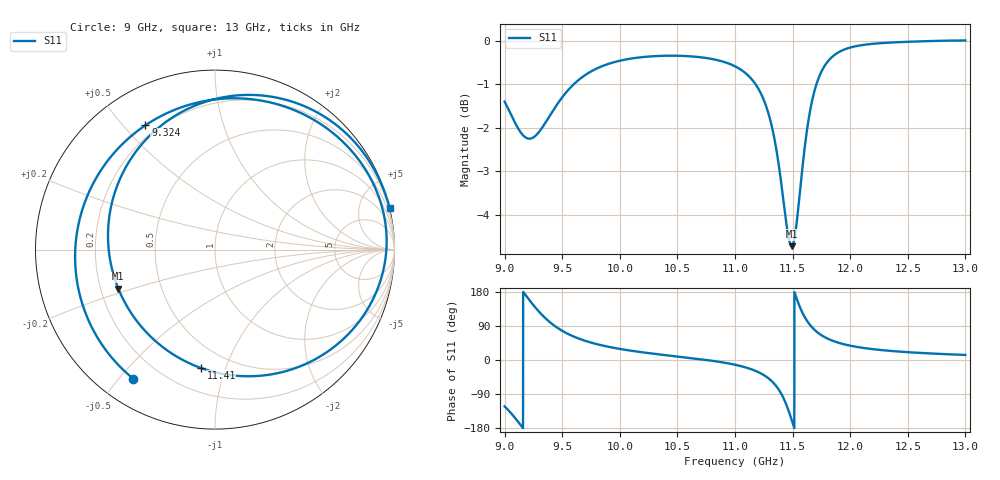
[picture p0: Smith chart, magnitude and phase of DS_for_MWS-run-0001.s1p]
! TOUCHSTONE file generated by CST DESIGN STUDIO
! Date and time: Tue Feb  4 14:18:20 2025
! Project name: C:\Work\MatlabApps\UnitCellOptimizationMatlab\CST\unitcell.cst
! Tree item: Tasks\Sweep1\SPara1\S-Parameters
! Header version: 2024
! Port assignment regex: !\s*Touchstone port\s*([0-9]+)\s*=\s*(CST MWS port|CST DES external port|CST DES block port)\s*(.+)\s* \(\"(.*)\"\)(\s*mode\s*([0-9]+))?.*
! Touchstone port assignment:
! Touchstone port 1 = CST DES external port 1 ("")
# GHz S MA R 50
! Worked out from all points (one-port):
!   4001 points, 9 GHz to 13 GHz, reference 50 ohm
!   lowest |S11| = -4.7 dB at 11.49 GHz (marker M1), VSWR 3.77, Z = 13.7 - j8.99 ohm
!   |S11| at or under -10 dB: nowhere
!   S11 on the Smith chart (normalised r, x): 9 GHz: 0.10, -0.55; 9.324 GHz: 0.15, +0.58; 11.41 GHz: 0.35, -0.82; 13 GHz: -0.01, +8.58
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9  0.8511 -122.4
9.093  0.8037 -153.7
9.161  0.7784 179.7
9.232  0.7723 151.6
9.324  0.7937 119.3
9.404  0.8246 97.1
9.5  0.8608 77.1
9.713  0.9154 49.3
10  0.9481 29.3
10.5  0.9606 9.2
11  0.9342 -12.5
11.15  0.9012 -25.3
11.256  0.8508 -41.0
11.338  0.7765 -61.8
11.415  0.6642 -96.8
11.453  0.6073 -123.6
11.492  0.5809 -158.0
11.5  0.5824 -165.6
11.539  0.624 158.9
11.583  0.7101 126.2
11.617  0.7757 107.2
11.655  0.8349 91.1
11.722  0.9029 71.4
11.796  0.9428 57.6
11.886  0.9672 46.7
12  0.9817 37.8
12.5  0.9967 20.6
13  1 13.3
